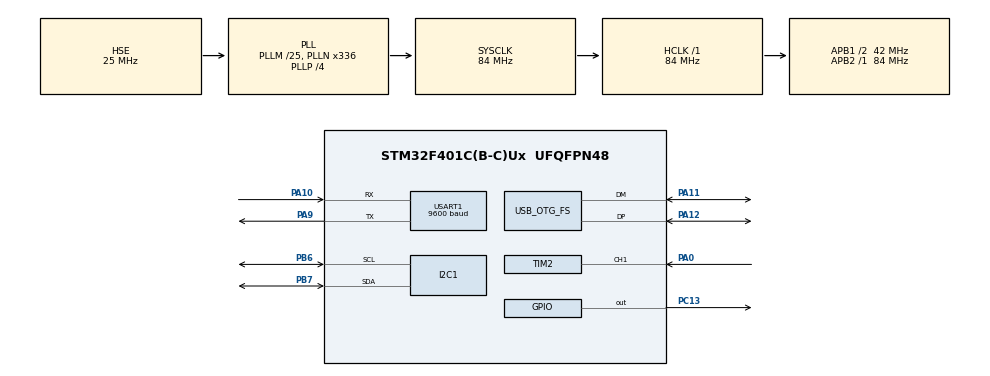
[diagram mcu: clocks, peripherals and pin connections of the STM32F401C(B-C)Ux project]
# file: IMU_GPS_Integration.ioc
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Dma.Request0=USART1_RX
Dma.USART1_RX.0.Direction=DMA_PERIPH_TO_MEMORY
Dma.USART1_RX.0.FIFOMode=DMA_FIFOMODE_DISABLE
Dma.USART1_RX.0.Instance=DMA2_Stream2
Dma.USART1_RX.0.MemDataAlignment=DMA_MDATAALIGN_BYTE
Dma.USART1_RX.0.MemInc=DMA_MINC_ENABLE
Dma.USART1_RX.0.Mode=DMA_NORMAL
Dma.USART1_RX.0.PeriphDataAlignment=DMA_PDATAALIGN_BYTE
Dma.USART1_RX.0.PeriphInc=DMA_PINC_DISABLE
Dma.USART1_RX.0.Priority=DMA_PRIORITY_LOW
I2C1.I2C_Mode=I2C_Fast
Mcu.Family=STM32F4
Mcu.Name=STM32F401C(B-C)Ux
Mcu.Package=UFQFPN48
NVIC.DMA2_Stream2_IRQn=true\:0\:0\:false\:false\:true\:false\:true\:true
NVIC.OTG_FS_IRQn=true\:0\:0\:false\:false\:true\:false\:true\:true
NVIC.PriorityGroup=NVIC_PRIORITYGROUP_4
NVIC.TIM2_IRQn=true\:0\:0\:false\:false\:true\:true\:true\:true
NVIC.USART1_IRQn=true\:0\:0\:false\:false\:true\:true\:true\:true
PA0-WKUP.Signal=S_TIM2_CH1_ETR
PA10.Mode=Asynchronous
PA10.Signal=USART1_RX
PA11.Mode=Device_Only
PA11.Signal=USB_OTG_FS_DM
PA12.Mode=Device_Only
PA12.Signal=USB_OTG_FS_DP
PA9.Mode=Asynchronous
PA9.Signal=USART1_TX
PB6.Mode=I2C
PB6.Signal=I2C1_SCL
PB7.Mode=I2C
PB7.Signal=I2C1_SDA
PC13-ANTI_TAMP.Signal=GPIO_Output
PH0\ -\ OSC_IN.Mode=HSE-External-Oscillator
PH0\ -\ OSC_IN.Signal=RCC_OSC_IN
PH1\ -\ OSC_OUT.Mode=HSE-External-Oscillator
PH1\ -\ OSC_OUT.Signal=RCC_OSC_OUT
ProjectManager.HeapSize=0x200
ProjectManager.StackSize=0x4000
ProjectManager.TargetToolchain=STM32CubeIDE
RCC.48MHZClocksFreq_Value=48000000
RCC.AHBFreq_Value=84000000
RCC.APB1CLKDivider=RCC_HCLK_DIV2
RCC.APB1Freq_Value=42000000
RCC.APB1TimFreq_Value=84000000
RCC.APB2Freq_Value=84000000
RCC.APB2TimFreq_Value=84000000
RCC.CortexFreq_Value=84000000
RCC.HCLKFreq_Value=84000000
RCC.HSE_VALUE=25000000
RCC.HSI_VALUE=16000000
RCC.LSE_VALUE=32768
RCC.PLLM=25
RCC.PLLN=336
RCC.PLLP=RCC_PLLP_DIV4
RCC.PLLQ=7
RCC.SYSCLKFreq_VALUE=84000000
RCC.SYSCLKSource=RCC_SYSCLKSOURCE_PLLCLK
RCC.VCOOutputFreq_Value=336000000
SH.S_TIM2_CH1_ETR.0=TIM2_CH1,Input_Capture1_from_TI1
STMicroelectronics.X-CUBE-ALGOBUILD.1.5.0.LibraryCcDSPOoLibraryJjDSPOoLibrary=true
TIM2.Channel-Input_Capture1_from_TI1=TIM_CHANNEL_1
USART1.BaudRate=9600
USART1.VirtualMode=VM_ASYNC
USB_DEVICE.CLASS_NAME_FS=CDC
USB_DEVICE.VirtualMode=Cdc
USB_DEVICE.VirtualModeFS=Cdc_FS
USB_OTG_FS.VirtualMode=Device_Only
VP_STMicroelectronics.X-CUBE-ALGOBUILD_VS_DSPOoLibraryJjLibrary_1.5.0_1.5.0.Mode=DSPOoLibraryJjLibrary
VP_TIM2_VS_ClockSourceINT.Mode=Internal
VP_USB_DEVICE_VS_USB_DEVICE_CDC_FS.Mode=CDC_FS
board=custom

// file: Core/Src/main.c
/* USER CODE BEGIN Header */
/**
 ******************************************************************************
 * @file           : main.c
 * @brief          : Main program body
 ******************************************************************************
 * @attention
 *
 * Copyright (c) 2026 STMicroelectronics.
 * All rights reserved.
 *
 * This software is licensed under terms that can be found in the LICENSE file
 * in the root directory of this software component.
 * If no LICENSE file comes with this software, it is provided AS-IS.
 *
 ******************************************************************************
 */
/* USER CODE END Header */
#include "main.h"
#include "usb_device.h"

/* USER CODE BEGIN Includes */

#include "usbd_cdc_if.h"
#include "MPU9250.h"
#include "UARTRingBuffer.h"
#include "NMEA.h"
#include "arm_math.h"
#include "EKF.h"
#include <string.h>

/* USER CODE END Includes */

I2C_HandleTypeDef hi2c1;

TIM_HandleTypeDef htim2;

UART_HandleTypeDef huart1;
DMA_HandleTypeDef hdma_usart1_rx;

/* USER CODE BEGIN PV */

// Time Synchronization
uint8_t ppsCapturedUpdated = 1;
int ppsCapturedCNT = 0;
int ppsCapturedCNTprev = 0;

uint8_t timeRefEstablished = 0;
int startTime = 0;
int ppsCount = 0;

// Debugging Message
uint8_t msgOut[2000];
static uint8_t txBuf[2000];
uint32_t txDropCount = 0;
uint32_t dtSkipCount = 0;

/* USER CODE END PV */

void SystemClock_Config(void);
static void MX_GPIO_Init(void);
static void MX_DMA_Init(void);
static void MX_I2C1_Init(void);
static void MX_USART1_UART_Init(void);
static void MX_TIM2_Init(void);
/* USER CODE BEGIN PFP */

void HAL_TIM_IC_CaptureCallback(TIM_HandleTypeDef *htim) {
	ppsCapturedCNT = TIM2->CCR1;
	ppsCapturedUpdated = 1;
}

static uint8_t cdcSend(uint8_t *buf, uint16_t len) {
	uint8_t ret;
	uint16_t spin = 0;

	memcpy(txBuf, buf, len);
	ret = CDC_Transmit_FS(txBuf, len);

	while (ret == USBD_BUSY && spin < 2000) {
		ret = CDC_Transmit_FS(txBuf, len);
		spin++;
	}

	if (ret == USBD_BUSY) {
		txDropCount++;
		return 0;
	}

	return 1;
}

/* USER CODE END PFP */

/* USER CODE BEGIN 0 */

GPSDATA gpsData;
IMU imu;

/* USER CODE END 0 */

int main(void) {

	/* MCU Configuration--------------------------------------------------------*/

	/* Reset of all peripherals, Initializes the Flash interface and the Systick. */
	HAL_Init();

	/* Configure the system clock */
	SystemClock_Config();

	/* Initialize all configured peripherals */
	MX_GPIO_Init();
	MX_DMA_Init();
	MX_I2C1_Init();
	MX_USB_DEVICE_Init();
	MX_USART1_UART_Init();
	MX_TIM2_Init();
	/* USER CODE BEGIN 2 */

	RingBuf_init();

	imu.info.i2c = hi2c1;
	imu.info.i2cAddress = 0x68;

	initMPU9250(&imu.info.i2c, imu.info.i2cAddress);

	int initCount = 0;

	float avg_a[3] = { 0 }, avg_g[3] = { 0 };

// Global Positioning System

// Timing and Synchronization
	int loopTimer = TIM2->CNT;
	float tor_i;

	int filterTimer = TIM2->CNT;
	uint8_t ekfUpdated = 0;

	// Printing & Debugging

	HAL_TIM_IC_Start_IT(&htim2, TIM_CHANNEL_1);

	/* USER CODE END 2 */

	/* Infinite loop */
	/* USER CODE BEGIN WHILE */
	while (1) {
		// --- Non-blocking GPS parser ---
		readGPS();

		if (!timeRefEstablished && GPS_IsUpdated(&gpsData)) {
			startTime = gpsData.time.secondsOfDay;
			ppsCapturedCNTprev = ppsCapturedCNT;

			if (ppsCapturedCNTprev && gpsData.isFixValid) {
				timeRefEstablished = 1;

				// Initialise EKF
				double lat_rad = gpsData.location.latitude * 0.01745329252;
				double lon_rad = gpsData.location.longitude * 0.01745329252;
				double h_m = gpsData.altitude.altitude
						+ gpsData.altitude.geoidSeparation;
				float vn = gpsData.velocity.vN;
				float ve = gpsData.velocity.vE;
				float vd = 0.0f;

				float ax = avg_a[0] / initCount;
				float ay = avg_a[1] / initCount;
				float az = avg_a[2] / initCount;

				float roll = atan2(-ay, -az);
				float pitch = atan(ax / sqrt(ay * ay + az * az));
				float yaw = 0.0f;   // or compute from IMU

				float b_a[3] = { 0.0f, 0.0f, 0.0f };

				float b_g[3] = { avg_g[0] / initCount * 0.0174533, avg_g[1]
						/ initCount * 0.0174533, avg_g[2] / initCount
						* 0.0174533 };

				int len = snprintf((char*) msgOut, sizeof(msgOut),
						"%0.3f,%0.3f,%0.3f,%0.3f,%0.3f,%0.3f\r\n",
						roll / 0.0174533, pitch / 0.0174533, yaw,
						avg_g[0] / initCount, avg_g[1] / initCount,
						avg_g[2] / initCount);
				cdcSend(msgOut, len);

				init_EKF(lat_rad, lon_rad, h_m, vn, ve, vd, roll, pitch, yaw,
						b_a, b_g);
				loopTimer = TIM2->CNT;
			}
			GPS_ResetUpdateFlag(&gpsData);
		}
		if (!timeRefEstablished && !GPS_IsUpdated(&gpsData)) {
			readMPU9250(&imu.info.i2c, imu.info.i2cAddress, &imu);
			initCount = initCount + 1;

			avg_a[0] = avg_a[0] + imu.f_ib_b[0];
			avg_a[1] = avg_a[1] + imu.f_ib_b[1];
			avg_a[2] = avg_a[2] + imu.f_ib_b[2];

			avg_g[0] = avg_g[0] + imu.omega_ib_b[0];
			avg_g[1] = avg_g[1] + imu.omega_ib_b[1];
			avg_g[2] = avg_g[2] + imu.omega_ib_b[2];

			HAL_Delay(5);
		}

		if (timeRefEstablished) {
			int currentTimer = TIM2->CNT;
			if (currentTimer - loopTimer >= 50) {

				// --- Time Synchronization ---
				if (ppsCapturedUpdated) {
					int ppsGap = ppsCapturedCNT - ppsCapturedCNTprev;

					int noPPSseconds = ppsGap / 10000;

					ppsCount = ppsCount + noPPSseconds;

					ppsCapturedCNTprev = ppsCapturedCNT;
					ppsCapturedUpdated = 0;
				}

				tor_i = (currentTimer - loopTimer) / 10000.0f;

				if (tor_i <= 0.0f || tor_i > 0.1f) {
					loopTimer = currentTimer;
					dtSkipCount++;
					continue;
				}

				double imu_time = (double) (startTime + ppsCount + 1)
						+ (double) (currentTimer - ppsCapturedCNT) / 10000.0f;

				readMPU9250(&imu.info.i2c, imu.info.i2cAddress, &imu);

				// Convert accelerometer from g to m/s²
				float imuData[6];
				imuData[0] = imu.f_ib_b[0] * 9.80665f;
				imuData[1] = imu.f_ib_b[1] * 9.80665f;
				imuData[2] = imu.f_ib_b[2] * 9.80665f;
				// Convert gyro from deg/s to rad/s
				imuData[3] = imu.omega_ib_b[0] * 0.0174533f;
				imuData[4] = imu.omega_ib_b[1] * 0.0174533f;
				imuData[5] = imu.omega_ib_b[2] * 0.0174533f;

				// Update timestamp and print EKF output
				ekf_out.timeOfValidity = imu_time;

				predict(imuData, tor_i);

				// --- IMU print ---
				int len =
						snprintf((char*) msgOut, sizeof(msgOut),
								"IMU,%0.3f,%0.3f,%0.3f,%0.3f,%0.3f,%0.3f,%0.3f,%lu,%lu\r\n",
								imu_time, imu.f_ib_b[0], imu.f_ib_b[1],
								imu.f_ib_b[2], imu.omega_ib_b[0],
								imu.omega_ib_b[1], imu.omega_ib_b[2],
								txDropCount, dtSkipCount);
				cdcSend(msgOut, len);

				// --- GPS print ---
				if (GPS_IsUpdated(&gpsData)) {
					int gpsLen =
							snprintf((char*) msgOut, sizeof(msgOut),
									"GPS,%0.3f,%0.6f,%0.6f,%0.3f,%0.3f,%0.3f,%0.3f,%d\r\n",
									gpsData.time.secondsOfDay,
									gpsData.location.latitude,
									gpsData.location.longitude,
									gpsData.altitude.altitude
											+ gpsData.altitude.geoidSeparation,
									gpsData.velocity.vN, gpsData.velocity.vE,
									gpsData.hdop, gpsData.satelliteCount);
					cdcSend(msgOut, gpsLen);

					double lat_rad = gpsData.location.latitude * 0.01745329252;
					double lon_rad = gpsData.location.longitude * 0.01745329252;
					double h_m = gpsData.altitude.altitude
							+ gpsData.altitude.geoidSeparation;  // metres
					float vn = gpsData.velocity.vN;
					float ve = gpsData.velocity.vE;
					float vd = 0.0f;   // not provided, assume zero

					// Correct EKF with GNSS (update converts to ECEF internally)
					update(lat_rad, lon_rad, h_m, vn, ve, vd,
							gpsData.velocityValid, gpsData.hdop);

					GPS_ResetUpdateFlag(&gpsData);
					ekfUpdated = 1;
				}

				loopTimer = currentTimer;
			}

			int currentfilterTimer = TIM2->CNT;
			if ((currentfilterTimer - filterTimer >= 50 * 20) || ekfUpdated) {
				filterTimer = currentfilterTimer;
				ekfUpdated = 0;

				int len = format_filter_output((char*) msgOut, sizeof(msgOut),
						ekf_out.timeOfValidity);
				cdcSend(msgOut, len);

				len =
						snprintf((char*) msgOut, sizeof(msgOut),
								"EKF,%0.3f,%0.6f,%0.6f,%0.3f,%0.3f,%0.3f,%0.3f,%0.3f,%0.3f,%0.3f\r\n",
								ekf_out.timeOfValidity, ekf_out.latitude,
								ekf_out.longitude, ekf_out.altitude, ekf_out.vN,
								ekf_out.vE, ekf_out.vD, ekf_out.roll,
								ekf_out.pitch, ekf_out.yaw);
				cdcSend(msgOut, len);
			}

		}
		/* USER CODE END WHILE */

	}
}

void SystemClock_Config(void) {
	RCC_OscInitTypeDef RCC_OscInitStruct = { 0 };
	RCC_ClkInitTypeDef RCC_ClkInitStruct = { 0 };

	/** Configure the main internal regulator output voltage
	 */
	__HAL_RCC_PWR_CLK_ENABLE();
	__HAL_PWR_VOLTAGESCALING_CONFIG(PWR_REGULATOR_VOLTAGE_SCALE2);

	/** Initializes the RCC Oscillators according to the specified parameters
	 * in the RCC_OscInitTypeDef structure.
	 */
	RCC_OscInitStruct.OscillatorType = RCC_OSCILLATORTYPE_HSE;
	RCC_OscInitStruct.HSEState = RCC_HSE_ON;
	RCC_OscInitStruct.PLL.PLLState = RCC_PLL_ON;
	RCC_OscInitStruct.PLL.PLLSource = RCC_PLLSOURCE_HSE;
	RCC_OscInitStruct.PLL.PLLM = 25;
	RCC_OscInitStruct.PLL.PLLN = 336;
	RCC_OscInitStruct.PLL.PLLP = RCC_PLLP_DIV4;
	RCC_OscInitStruct.PLL.PLLQ = 7;
	if (HAL_RCC_OscConfig(&RCC_OscInitStruct) != HAL_OK) {
		Error_Handler();
	}

	/** Initializes the CPU, AHB and APB buses clocks
	 */
	RCC_ClkInitStruct.ClockType = RCC_CLOCKTYPE_HCLK | RCC_CLOCKTYPE_SYSCLK
			| RCC_CLOCKTYPE_PCLK1 | RCC_CLOCKTYPE_PCLK2;
	RCC_ClkInitStruct.SYSCLKSource = RCC_SYSCLKSOURCE_PLLCLK;
	RCC_ClkInitStruct.AHBCLKDivider = RCC_SYSCLK_DIV1;
	RCC_ClkInitStruct.APB1CLKDivider = RCC_HCLK_DIV2;
	RCC_ClkInitStruct.APB2CLKDivider = RCC_HCLK_DIV1;

	if (HAL_RCC_ClockConfig(&RCC_ClkInitStruct, FLASH_LATENCY_2) != HAL_OK) {
		Error_Handler();
	}
}

static void MX_I2C1_Init(void) {

	hi2c1.Instance = I2C1;
	hi2c1.Init.ClockSpeed = 400000;
	hi2c1.Init.DutyCycle = I2C_DUTYCYCLE_2;
	hi2c1.Init.OwnAddress1 = 0;
	hi2c1.Init.AddressingMode = I2C_ADDRESSINGMODE_7BIT;
	hi2c1.Init.DualAddressMode = I2C_DUALADDRESS_DISABLE;
	hi2c1.Init.OwnAddress2 = 0;
	hi2c1.Init.GeneralCallMode = I2C_GENERALCALL_DISABLE;
	hi2c1.Init.NoStretchMode = I2C_NOSTRETCH_DISABLE;
	if (HAL_I2C_Init(&hi2c1) != HAL_OK) {
		Error_Handler();
	}

}

static void MX_TIM2_Init(void) {

	TIM_ClockConfigTypeDef sClockSourceConfig = { 0 };
	TIM_MasterConfigTypeDef sMasterConfig = { 0 };
	TIM_IC_InitTypeDef sConfigIC = { 0 };

	htim2.Instance = TIM2;
	htim2.Init.Prescaler = 8399;
	htim2.Init.CounterMode = TIM_COUNTERMODE_UP;
	htim2.Init.Period = 4294967295;
	htim2.Init.ClockDivision = TIM_CLOCKDIVISION_DIV1;
	htim2.Init.AutoReloadPreload = TIM_AUTORELOAD_PRELOAD_DISABLE;
	if (HAL_TIM_Base_Init(&htim2) != HAL_OK) {
		Error_Handler();
	}
	sClockSourceConfig.ClockSource = TIM_CLOCKSOURCE_INTERNAL;
	if (HAL_TIM_ConfigClockSource(&htim2, &sClockSourceConfig) != HAL_OK) {
		Error_Handler();
	}
	if (HAL_TIM_IC_Init(&htim2) != HAL_OK) {
		Error_Handler();
	}
	sMasterConfig.MasterOutputTrigger = TIM_TRGO_RESET;
	sMasterConfig.MasterSlaveMode = TIM_MASTERSLAVEMODE_DISABLE;
	if (HAL_TIMEx_MasterConfigSynchronization(&htim2, &sMasterConfig)
			!= HAL_OK) {
		Error_Handler();
	}
	sConfigIC.ICPolarity = TIM_INPUTCHANNELPOLARITY_RISING;
	sConfigIC.ICSelection = TIM_ICSELECTION_DIRECTTI;
	sConfigIC.ICPrescaler = TIM_ICPSC_DIV1;
	sConfigIC.ICFilter = 0;
	if (HAL_TIM_IC_ConfigChannel(&htim2, &sConfigIC, TIM_CHANNEL_1) != HAL_OK) {
		Error_Handler();
	}

}

static void MX_USART1_UART_Init(void) {

	huart1.Instance = USART1;
	huart1.Init.BaudRate = 9600;
	huart1.Init.WordLength = UART_WORDLENGTH_8B;
	huart1.Init.StopBits = UART_STOPBITS_1;
	huart1.Init.Parity = UART_PARITY_NONE;
	huart1.Init.Mode = UART_MODE_TX_RX;
	huart1.Init.HwFlowCtl = UART_HWCONTROL_NONE;
	huart1.Init.OverSampling = UART_OVERSAMPLING_16;
	if (HAL_UART_Init(&huart1) != HAL_OK) {
		Error_Handler();
	}

}

static void MX_DMA_Init(void) {

	/* DMA controller clock enable */
	__HAL_RCC_DMA2_CLK_ENABLE();

	/* DMA interrupt init */
	/* DMA2_Stream2_IRQn interrupt configuration */
	HAL_NVIC_SetPriority(DMA2_Stream2_IRQn, 0, 0);
	HAL_NVIC_EnableIRQ(DMA2_Stream2_IRQn);

}

static void MX_GPIO_Init(void) {
	GPIO_InitTypeDef GPIO_InitStruct = { 0 };

	/* GPIO Ports Clock Enable */
	__HAL_RCC_GPIOC_CLK_ENABLE();
	__HAL_RCC_GPIOH_CLK_ENABLE();
	__HAL_RCC_GPIOA_CLK_ENABLE();
	__HAL_RCC_GPIOB_CLK_ENABLE();

	/*Configure GPIO pin Output Level */
	HAL_GPIO_WritePin(GPIOC, GPIO_PIN_13, GPIO_PIN_RESET);

	/*Configure GPIO pin : PC13 */
	GPIO_InitStruct.Pin = GPIO_PIN_13;
	GPIO_InitStruct.Mode = GPIO_MODE_OUTPUT_PP;
	GPIO_InitStruct.Pull = GPIO_NOPULL;
	GPIO_InitStruct.Speed = GPIO_SPEED_FREQ_LOW;
	HAL_GPIO_Init(GPIOC, &GPIO_InitStruct);

}

void Error_Handler(void) {
	__disable_irq();
	while (1) {
	}
}
